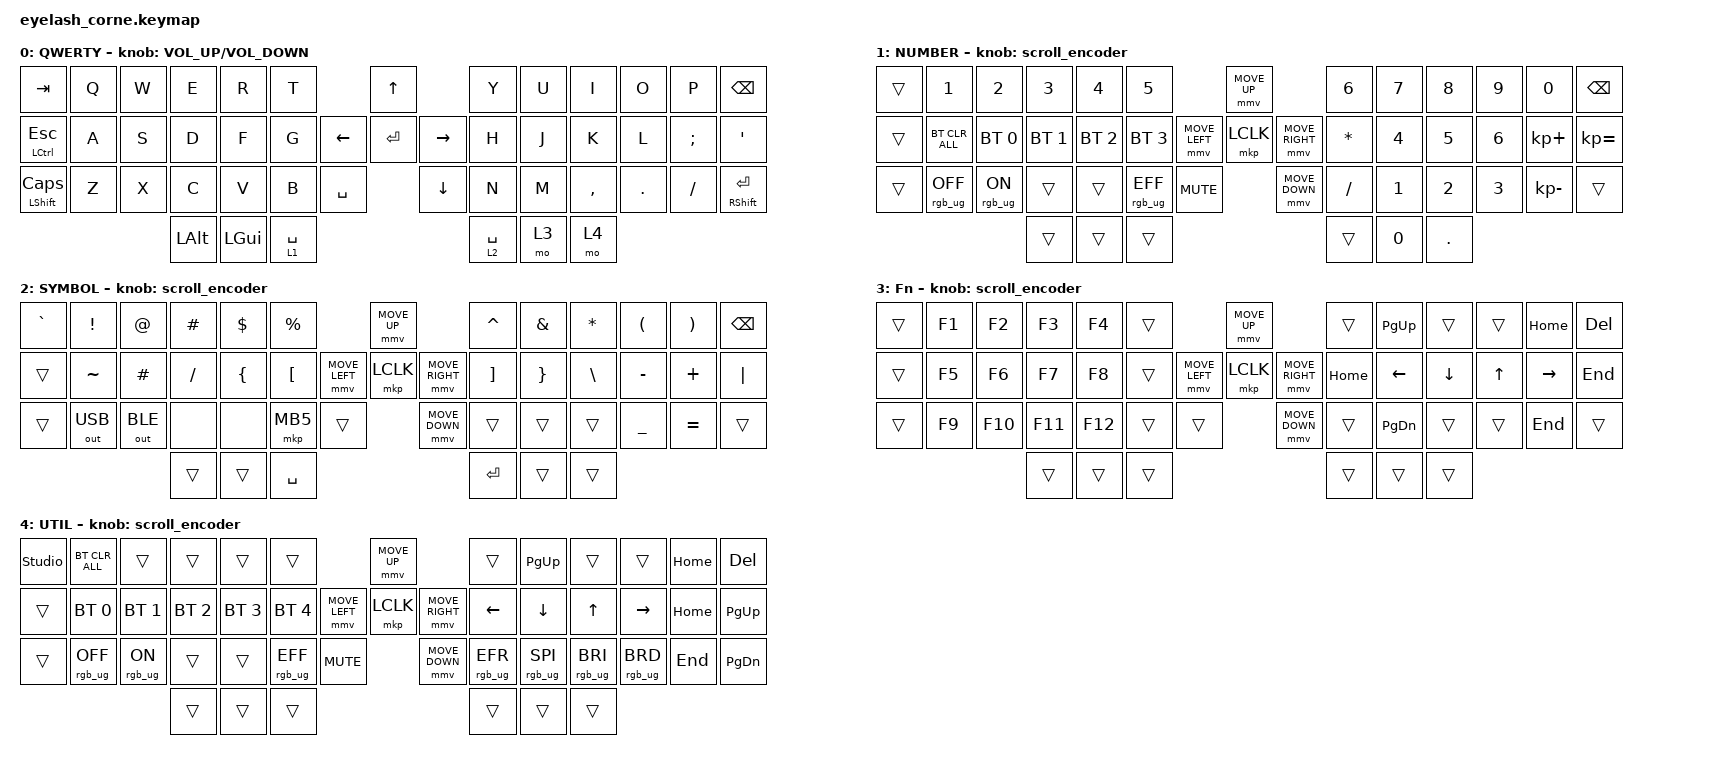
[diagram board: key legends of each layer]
#define ZMK_POINTING_DEFAULT_MOVE_VAL 1200  // 600
#define ZMK_POINTING_DEFAULT_SCRL_VAL 25   // 10

#include <input/processors.dtsi>
#include <zephyr/dt-bindings/input/input-event-codes.h>
#include <behaviors.dtsi>
#include <dt-bindings/zmk/bt.h>
#include <dt-bindings/zmk/keys.h>
#include <dt-bindings/zmk/outputs.h>
#include <dt-bindings/zmk/pointing.h>
#include <dt-bindings/zmk/rgb.h>

&mmv_input_listener { input-processors = <&zip_xy_scaler 2 1>; };

&msc_input_listener { input-processors = <&zip_scroll_scaler 2 1>; };

&msc {
    acceleration-exponent = <1>;      // 0
    time-to-max-speed-ms = <100>;       // 300
    delay-ms = <0>;                   // 0
};

&mmv {
    time-to-max-speed-ms = <500>;
    acceleration-exponent = <1>;
    trigger-period-ms = <16>;
};

&soft_off { hold-time-ms = <2000>; };

/ {
    behaviors {
        td0: td0 {
            compatible = "zmk,behavior-tap-dance";
            display-name = "Shift/Caps Lock Tap Dance";
            #binding-cells = <0>;
            bindings = <&kp LEFT_SHIFT>, <&kp CAPS>;
        };
    };

    rgb_encoder: rgb_encoder {
        compatible = "zmk,behavior-sensor-rotate";
        #sensor-binding-cells = <0>;
        bindings = <&rgb_ug RGB_BRI>, <&rgb_ug RGB_BRD>;
    };

    scroll_encoder: scroll_encoder {
        compatible = "zmk,behavior-sensor-rotate";
        #sensor-binding-cells = <0>;
        bindings = <&msc SCRL_DOWN>, <&msc SCRL_UP>;

        tap-ms = <100>;
    };

    combos {
        compatible = "zmk,combos";

        softoff {
            bindings = <&soft_off>;
            key-positions = <1 15 29>;
        };
    };

    keymap {
        compatible = "zmk,keymap";

        default_layer {
            display-name = "QWERTY";
            bindings = <
&kp TAB    &kp Q  &kp W  &kp E     &kp R  &kp T                               &kp UP                &kp Y        &kp U  &kp I      &kp O    &kp P     &kp BSPC
&mt LCTRL ESC &kp A &kp S &kp D    &kp F  &kp G                     &kp LEFT  &kp ENTER  &kp RIGHT  &kp H        &kp J  &kp K      &kp L    &kp SEMI  &kp SQT
&mt LSHFT CAPS &kp Z &kp X &kp C   &kp V  &kp B        &kp SPACE              &kp DOWN              &kp N        &kp M  &kp COMMA  &kp DOT  &kp FSLH  &mt RSHFT RET
                         &kp LALT  &kp LGUI &lt 1 SPACE                                               &lt 2 SPACE &mo 3  &mo 4
            >;
            sensor-bindings = <&inc_dec_kp C_VOLUME_UP C_VOLUME_DOWN>;
        };

        lower_layer {
            display-name = "NUMBER";
            bindings = <
&trans  &kp N1           &kp N2          &kp N3        &kp N4        &kp N5                                         &mmv MOVE_UP                     &kp N6           &kp N7           &kp N8           &kp N9           &kp N0      &kp BSPC
&trans  &bt BT_CLR_ALL   &bt BT_SEL 0    &bt BT_SEL 1  &bt BT_SEL 2  &bt BT_SEL 3                   &mmv MOVE_LEFT  &mkp LCLK       &mmv MOVE_RIGHT  &kp ASTRK        &kp N4           &kp N5           &kp N6           &kp KP_PLUS &kp KP_EQUAL
&trans  &rgb_ug RGB_OFF  &rgb_ug RGB_ON  &trans        &trans        &rgb_ug RGB_EFF  &kp C_MUTE                    &mmv MOVE_DOWN                   &kp SLASH        &kp N1           &kp N2           &kp N3           &kp KP_MINUS &trans
                                         &trans        &trans        &trans                                                                          &trans           &kp N0           &kp DOT
            >;

            sensor-bindings = <&scroll_encoder>;
        };

        raise_layer {
            display-name = "SYMBOL";
            bindings = <
&kp GRAVE &kp EXCL    &kp AT        &kp HASH   &kp DLLR   &kp PRCNT                            &mmv MOVE_UP                     &kp CARET  &kp AMPS   &kp ASTRK  &kp LPAR  &kp RPAR  &kp BSPC
&trans  &kp TILDE     &kp HASH      &kp SLASH  &kp LBRC   &kp LBKT             &mmv MOVE_LEFT  &mkp LCLK       &mmv MOVE_RIGHT  &kp RBKT   &kp RBRC   &kp BSLH   &kp MINUS &kp PLUS  &kp PIPE
&trans  &out OUT_USB  &out OUT_BLE  &none      &none      &mkp MB5   &trans                    &mmv MOVE_DOWN                   &trans     &trans     &trans     &kp UNDER &kp EQUAL &trans
                                    &trans     &trans     &kp SPACE                                                             &kp RET    &trans     &trans
            >;

            sensor-bindings = <&scroll_encoder>;
        };


        layer_3 {
            display-name = "Fn";
            bindings = <
&trans          &kp F1      &kp F2     &kp F3       &kp F4     &trans                                  &mmv MOVE_UP                     &trans       &kp PG_UP  &trans       &trans      &kp HOME         &kp DEL
&trans          &kp F5      &kp F6     &kp F7       &kp F8     &trans                  &mmv MOVE_LEFT  &mkp LCLK       &mmv MOVE_RIGHT  &kp HOME     &kp LEFT   &kp DOWN     &kp UP      &kp RIGHT        &kp END
&trans          &kp F9      &kp F10    &kp F11      &kp F12    &trans    &trans                        &mmv MOVE_DOWN                   &trans       &kp PG_DN  &trans      &trans      &kp END           &trans
                                       &trans       &trans     &trans                                                                   &trans       &trans     &trans
            >;

            sensor-bindings = <&scroll_encoder>;
        };
//
        layer_4 {
            display-name = "UTIL";
            bindings = <
&studio_unlock  &bt BT_CLR_ALL   &trans          &trans        &trans        &trans                                  &mmv MOVE_UP                      &trans           &kp PG_UP        &trans          &trans      &kp HOME           &kp DEL
&trans          &bt BT_SEL 0     &bt BT_SEL 1    &bt BT_SEL 2  &bt BT_SEL 3  &bt BT_SEL 4                   &mmv MOVE_LEFT  &mkp LCLK  &mmv MOVE_RIGHT &kp LEFT         &kp DOWN         &kp UP          &kp RIGHT   &kp HOME           &kp PG_UP
&trans          &rgb_ug RGB_OFF  &rgb_ug RGB_ON  &trans        &trans        &rgb_ug RGB_EFF  &kp C_MUTE             &mmv MOVE_DOWN                    &rgb_ug RGB_EFR  &rgb_ug RGB_SPI  &rgb_ug RGB_BRI &rgb_ug RGB_BRD &kp END        &kp PG_DN
                                       &trans       &trans     &trans                                                                   &trans       &trans     &trans
            >;

            sensor-bindings = <&scroll_encoder>;
        };

    };
};
